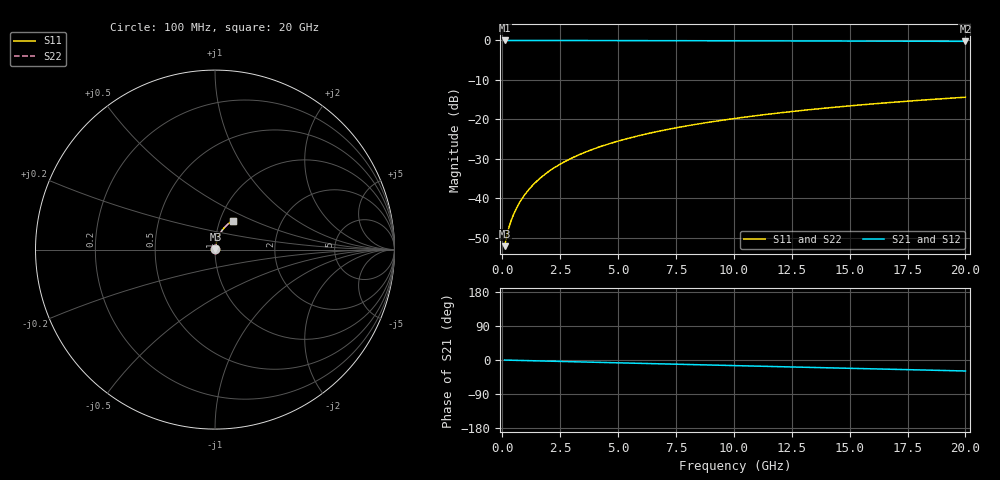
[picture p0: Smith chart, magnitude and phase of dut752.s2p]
! Touchstone file exported from HFSS 2026.1.0
!  File:  C:/ffzhzh/LocalFiles/Ansys_Project_Files/temp_train_BSMRDL_752_1783168892_55132.aedt
!  Generated:  08:42:43 PM Jul  4, 2026
!  Design:  BSMRDL
!  Project:  temp_train_BSMRDL_752_1783168892_55132
! Variables:
!  h_bsmrdl = 3.5um
!  h_ox = 20um
!  h_rdl = 5um
!  h_sub = 80um
!  h_tmrdl = 5um
!  h_tsv = 80um
!  h_via = 3um
!  l_bsmrdl = 454.75um
!  l_sub = 854.75um
!  l_tmrdl = 200um
!  m_sub = 200um
!  pitch = 38.96um
!  r_tsv = 6um
!  s_tmrdl = 10um
!  w_bsmrdl = 24.85um
!  w_sub = 500um
!  w_tmrdl = 12um
!  x_tsv_center1 = 206um
!  x_tsv_center2 = 685.6um
!  x_tsv_center3 = 897.6um
!  x_tsv_center4 = 1377.2um
!  x_tsv_center5 = 1589.2um
!  x_tsv_center6 = 2068.8um
# GHz S MA R 50.000000
! Terminal data exported
! Port[1] = BSM_RDL1_1_T1
! Port[2] = BSM_RDL1_1_T2
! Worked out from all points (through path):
!   200 points, 100 MHz to 20 GHz, reference 50 ohm
!   highest |S21| = -0.02 dB at 100 MHz (marker M1); lowest = -0.2 dB at 20 GHz (marker M2)
!   group delay of S21, straight-line fit = 4.02 ps
!   lowest |S11| = -52.1 dB at 100 MHz (marker M3), VSWR 1.00, Z = 50.2 + j0.131 ohm
!   |S11| at or under -10 dB: start of sweep to end of sweep
!   |S22| runs from -52.1 to -14.4 dB; largest |S21 - S12| = 2.7e-15
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0.1  0.00248 31.9  0.9979 -0.2  0.9979 -0.2  0.00248 31.9
! Gamma 0 0 0 0
! Port Impedance 50 0 50 0
0.2  0.0034 48.1  0.9977 -0.3  0.9977 -0.3  0.0034 48.1
0.3  0.004403 56.2  0.9976 -0.5  0.9976 -0.5  0.004403 56.2
0.4  0.005399 61.1  0.9974 -0.6  0.9974 -0.6  0.005399 61.1
0.5  0.006388 64.7  0.9973 -0.8  0.9973 -0.8  0.006388 64.7
0.6  0.007379 67.3  0.9972 -0.9  0.9972 -0.9  0.007379 67.3
0.8  0.009383 71.2  0.9971 -1.2  0.9971 -1.2  0.009382 71.2
1.1  0.01245 74.6  0.997 -1.7  0.997 -1.7  0.01245 74.6
1.3  0.01452 76.1  0.9969 -2.0  0.9969 -2.0  0.01452 76.1
1.6  0.01765 77.5  0.9968 -2.4  0.9968 -2.4  0.01765 77.5
2.1  0.02289 78.7  0.9965 -3.2  0.9965 -3.2  0.02289 78.7
2.7  0.0292 79.2  0.9962 -4.1  0.9962 -4.1  0.0292 79.2
3.5  0.03757 79.0  0.9956 -5.3  0.9956 -5.3  0.03757 79.0
4.2  0.04483 78.5  0.9949 -6.3  0.9949 -6.3  0.04483 78.5
5  0.05305 77.7  0.9942 -7.5  0.9942 -7.5  0.05305 77.7
5.9  0.06218 76.7  0.9932 -8.8  0.9932 -8.8  0.06218 76.7
6.8  0.07119 75.6  0.9922 -10.1  0.9922 -10.1  0.07118 75.6
8.3  0.08594 73.7  0.9903 -12.3  0.9903 -12.3  0.08593 73.7
10.1  0.1032 71.3  0.9879 -14.9  0.9879 -14.9  0.1032 71.3
13.4  0.1339 66.9  0.9831 -19.7  0.9831 -19.7  0.1338 67.0
16.7  0.1631 62.5  0.9778 -24.4  0.9778 -24.4  0.1631 62.6
20  0.1908 58.1  0.9721 -29.0  0.9721 -29.0  0.1908 58.2
